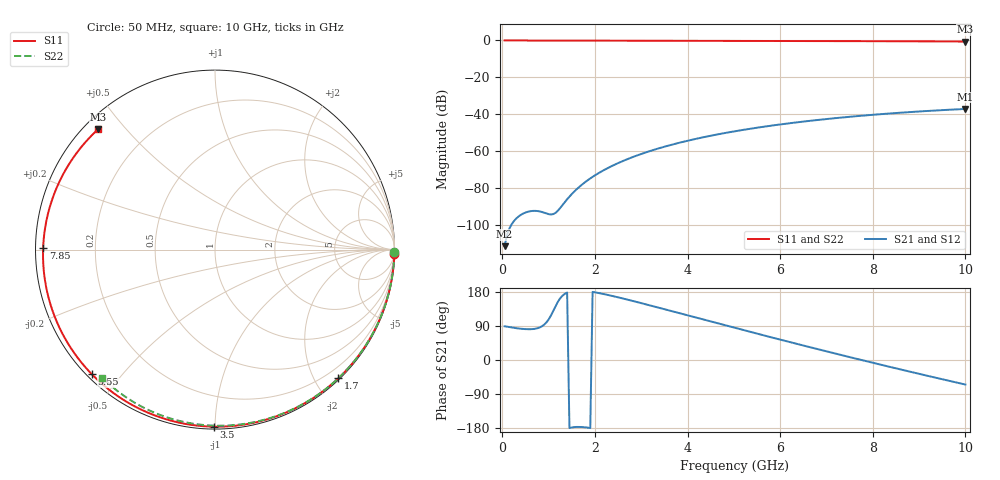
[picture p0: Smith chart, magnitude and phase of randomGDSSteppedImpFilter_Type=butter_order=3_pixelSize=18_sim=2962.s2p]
! freq	dB(S11)	phase(S11)	dB(S12)	phase(S12)
!  dB(S21)	phase(S21)	dB(S22)	phase(S22)
!S-par simulation data
#  GHz  S  DB  R 50
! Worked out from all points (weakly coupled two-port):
!   200 points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, 50 MHz to 10 GHz, reference 50 ohm
!   highest |S21| = -37.11 dB at 10 GHz (marker M1); lowest = -111.4 dB at 50 MHz (marker M2)
!   lowest |S11| = -0.6 dB at 10 GHz (marker M3), VSWR 29.72, Z = 1.98 + j21.1 ohm
!   |S11| at or under -10 dB: nowhere
!   |S22| runs from -0.4 to 0.0 dB; largest |S21 - S12| = 0
!   S11 on the Smith chart (normalised r, x): 50 MHz: 0, -82; 1.7 GHz: 0.02, -2.34; 3.5 GHz: 0.01, -0.99; 5.55 GHz: 0.01, -0.42; 7.85 GHz: 0.02, +0.00; 10 GHz: 0.04, +0.42
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0.05  -0.00 -1.4  -111.45 89.0  -111.45 89.0  -0.00 -0.8
0.4  -0.02 -11.1  -94.48 82.5  -94.48 82.5  -0.01 -6.1
0.8  -0.03 -22.1  -92.58 85.5  -92.58 85.5  -0.02 -12.1
1.6  -0.06 -43.6  -80.74 -176.7  -80.74 -176.7  -0.03 -24.0
1.65  -0.06 -44.9  -79.60 -176.6  -79.60 -176.6  -0.03 -24.7
1.7  -0.06 -46.2  -78.53 -176.8  -78.53 -176.8  -0.03 -25.5
1.75  -0.06 -47.5  -77.51 -177.2  -77.51 -177.2  -0.03 -26.2
2.05  -0.07 -55.3  -72.32 177.5  -72.32 177.5  -0.04 -30.6
2.45  -0.08 -65.3  -67.02 166.9  -67.02 166.9  -0.05 -36.4
2.9  -0.10 -76.3  -62.39 153.3  -62.39 153.3  -0.06 -42.8
3.4  -0.11 -88.1  -58.29 137.3  -58.29 137.3  -0.07 -49.9
3.5  -0.12 -90.5  -57.57 134.1  -57.57 134.1  -0.07 -51.2
4.25  -0.14 -107.3  -52.92 109.8  -52.92 109.8  -0.09 -61.5
5.05  -0.18 -124.3  -49.07 83.9  -49.07 83.9  -0.11 -72.2
5.55  -0.21 -134.6  -47.08 68.0  -47.08 68.0  -0.13 -78.6
6.15  -0.25 -146.7  -45.02 49.1  -45.02 49.1  -0.15 -86.2
6.7  -0.28 -157.6  -43.38 32.0  -43.38 32.0  -0.18 -93.0
7.3  -0.33 -169.5  -41.82 13.7  -41.82 13.7  -0.21 -100.2
7.85  -0.38 179.5  -40.58 -2.8  -40.58 -2.8  -0.25 -106.8
8.35  -0.42 169.4  -39.59 -17.6  -39.59 -17.6  -0.29 -112.6
9.15  -0.50 152.7  -38.24 -40.8  -38.24 -40.8  -0.36 -121.7
10  -0.58 134.2  -37.11 -64.8  -37.11 -64.8  -0.44 -131.3
